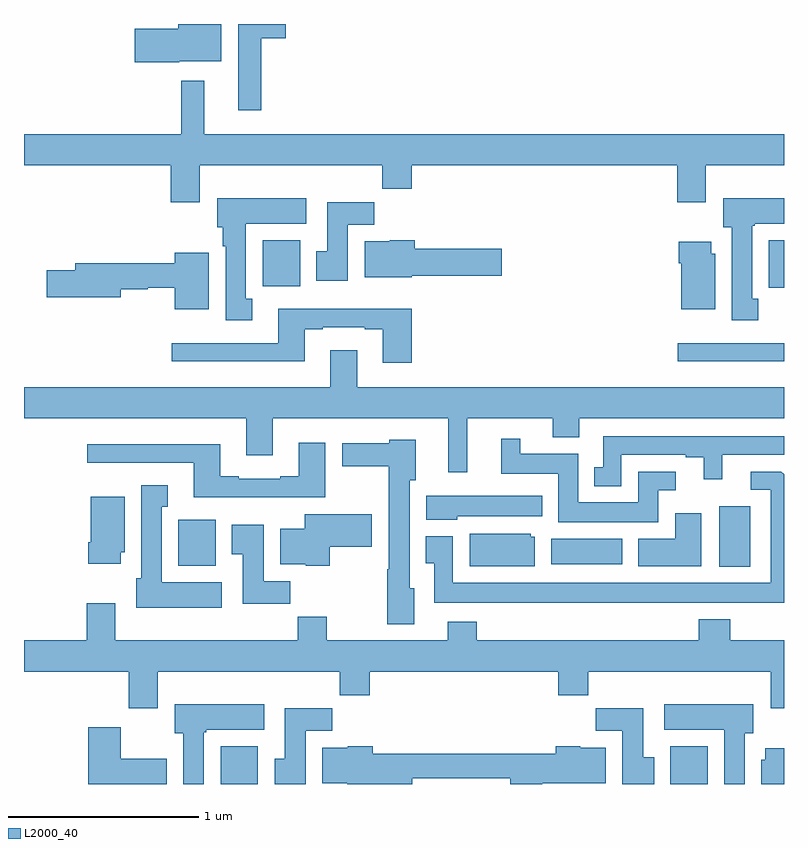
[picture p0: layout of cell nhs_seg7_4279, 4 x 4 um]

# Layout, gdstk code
import gdstk
lib = gdstk.Library(unit=1e-6, precision=1e-09)
def R(c, l, rs):  # rectangles x0, y0, x1, y1
    for r in rs: c.add(gdstk.rectangle(r[:2], r[2:], *l))
def P(c, l, *ps):  # polygons
    for p in ps: c.add(gdstk.Polygon(p, *l))
L2000_40 = (2000, 40)

nhs_seg7_4279 = lib.new_cell('nhs_seg7_4279')
R(nhs_seg7_4279, L2000_40, [(382.035,1024,382.231,1024.198), (384.401,1024,384.598,1024.198), (384.659,1025.144,384.823,1025.461), (381.812,1025.15,382.009,1025.392), (383.775,1025.156,384.148,1025.29), (384.441,1026.224,385,1026.321), (384.921,1026.612,385,1026.862), (382.256,1026.62,382.453,1026.862)])
P(nhs_seg7_4279, L2000_40, [(381.816,1027.805),(382.039,1027.805),(382.039,1028),(381.812,1028),(381.812,1027.976),(381.582,1027.976),(381.582,1027.798),(381.816,1027.798)],
  [(382.249,1027.925),(382.378,1027.925),(382.378,1028),(382.127,1028),(382.127,1027.545),(382.249,1027.545)],
  [(381.925,1027.256),(382.885,1027.256),(382.885,1027.132),(383.042,1027.132),(383.042,1027.256),(384.437,1027.256),(384.437,1027.062),(384.589,1027.062),(384.589,1027.256),(385,1027.256),(385,1027.42),(381.949,1027.42),(381.949,1027.702),(381.828,1027.702),(381.828,1027.42),(381,1027.42),(381,1027.256),(381.773,1027.256),(381.773,1027.062),(381.925,1027.062)],
  [(384.865,1026.553),(384.832,1026.553),(384.832,1026.937),(384.846,1026.937),(384.846,1026.95),(385,1026.95),(385,1027.084),(384.68,1027.084),(384.68,1026.93),(384.725,1026.93),(384.725,1026.441),(384.865,1026.441)],
  [(382.201,1026.554),(382.168,1026.554),(382.168,1026.95),(382.486,1026.95),(382.486,1027.084),(382.016,1027.084),(382.016,1026.93),(382.046,1026.93),(382.046,1026.83),(382.061,1026.83),(382.061,1026.441),(382.201,1026.441)],
  [(382.705,1026.944),(382.844,1026.944),(382.844,1027.063),(382.595,1027.063),(382.595,1026.804),(382.538,1026.804),(382.538,1026.648),(382.705,1026.648)],
  [(383.04,1026.674),(383.515,1026.674),(383.515,1026.816),(383.057,1026.816),(383.057,1026.862),(382.926,1026.862),(382.926,1026.856),(382.793,1026.856),(382.793,1026.668),(383.04,1026.668)],
  [(384.637,1026.792),(384.616,1026.792),(384.616,1026.853),(384.446,1026.853),(384.446,1026.74),(384.458,1026.74),(384.458,1026.5),(384.637,1026.5)],
  [(381.973,1026.796),(381.794,1026.796),(381.794,1026.74),(381.269,1026.74),(381.269,1026.704),(381.12,1026.704),(381.12,1026.562),(381.508,1026.562),(381.508,1026.604),(381.651,1026.604),(381.651,1026.612),(381.794,1026.612),(381.794,1026.5),(381.973,1026.5)],
  [(383.042,1026.502),(382.337,1026.502),(382.337,1026.321),(381.777,1026.321),(381.777,1026.224),(382.477,1026.224),(382.477,1026.393),(382.573,1026.393),(382.573,1026.405),(382.793,1026.405),(382.793,1026.393),(382.889,1026.393),(382.889,1026.216),(383.042,1026.216)],
  [(383.333,1025.924),(383.783,1025.924),(383.783,1025.825),(383.923,1025.825),(383.923,1025.924),(385,1025.924),(385,1026.088),(382.753,1026.088),(382.753,1026.283),(382.613,1026.283),(382.613,1026.088),(381,1026.088),(381,1025.924),(382.169,1025.924),(382.169,1025.73),(382.309,1025.73),(382.309,1025.924),(383.234,1025.924),(383.234,1025.64),(383.333,1025.64)],
  [(384.144,1025.733),(384.482,1025.733),(384.482,1025.721),(384.578,1025.721),(384.578,1025.603),(384.676,1025.603),(384.676,1025.733),(385,1025.733),(385,1025.829),(384.048,1025.829),(384.048,1025.667),(384.002,1025.667),(384.002,1025.567),(384.144,1025.567)],
  [(384.337,1025.547),(384.43,1025.547),(384.43,1025.643),(384.233,1025.643),(384.233,1025.482),(383.917,1025.482),(383.917,1025.737),(383.611,1025.737),(383.611,1025.818),(383.513,1025.818),(383.513,1025.633),(383.813,1025.633),(383.813,1025.378),(384.337,1025.378)],
  [(383.053,1025.031),(383.029,1025.031),(383.029,1025.598),(383.062,1025.598),(383.062,1025.812),(382.923,1025.812),(382.923,1025.794),(382.674,1025.794),(382.674,1025.672),(382.919,1025.672),(382.919,1025.131),(382.912,1025.131),(382.912,1024.841),(383.053,1024.841)],
  [(382.585,1025.797),(382.445,1025.797),(382.445,1025.62),(382.349,1025.62),(382.349,1025.607),(382.129,1025.607),(382.129,1025.62),(382.033,1025.62),(382.033,1025.788),(381.333,1025.788),(381.333,1025.691),(381.893,1025.691),(381.893,1025.51),(382.585,1025.51)],
  [(385,1025.629),(384.986,1025.643),(384.825,1025.643),(384.825,1025.55),(384.929,1025.55),(384.929,1025.059),(383.256,1025.059),(383.256,1025.305),(383.114,1025.305),(383.114,1025.161),(383.159,1025.161),(383.159,1024.955),(385,1024.955)],
  [(382.042,1025.062),(381.724,1025.062),(381.724,1025.459),(381.757,1025.459),(381.757,1025.572),(381.617,1025.572),(381.617,1025.082),(381.59,1025.082),(381.59,1024.928),(382.042,1024.928)],
  [(383.28,1025.408),(383.728,1025.408),(383.728,1025.518),(383.118,1025.518),(383.118,1025.39),(383.28,1025.39)],
  [(381.508,1025.22),(381.529,1025.22),(381.529,1025.512),(381.35,1025.512),(381.35,1025.272),(381.338,1025.272),(381.338,1025.16),(381.508,1025.16)],
  [(384.565,1025.425),(384.428,1025.425),(384.428,1025.29),(384.233,1025.29),(384.233,1025.147),(384.565,1025.147)],
  [(382.608,1025.249),(382.831,1025.249),(382.831,1025.419),(382.478,1025.419),(382.478,1025.344),(382.349,1025.344),(382.349,1025.156),(382.482,1025.156),(382.482,1025.15),(382.608,1025.15)],
  [(382.4,1025.068),(382.261,1025.068),(382.261,1025.365),(382.094,1025.365),(382.094,1025.209),(382.151,1025.209),(382.151,1024.95),(382.4,1024.95)],
  [(383.689,1025.301),(383.667,1025.301),(383.667,1025.317),(383.345,1025.317),(383.345,1025.147),(383.689,1025.147)],
  [(381.703,1024.592),(382.663,1024.592),(382.663,1024.468),(382.82,1024.468),(382.82,1024.592),(383.813,1024.592),(383.813,1024.468),(383.969,1024.468),(383.969,1024.592),(384.929,1024.592),(384.929,1024.398),(385,1024.398),(385,1024.756),(384.716,1024.756),(384.716,1024.867),(384.551,1024.867),(384.551,1024.756),(383.384,1024.756),(383.384,1024.855),(383.231,1024.855),(383.231,1024.756),(382.593,1024.756),(382.593,1024.88),(382.441,1024.88),(382.441,1024.756),(381.481,1024.756),(381.481,1024.951),(381.329,1024.951),(381.329,1024.756),(381,1024.756),(381,1024.592),(381.551,1024.592),(381.551,1024.398),(381.703,1024.398)],
  [(384.793,1024.266),(384.838,1024.266),(384.838,1024.42),(384.369,1024.42),(384.369,1024.286),(384.686,1024.286),(384.686,1024),(384.793,1024)],
  [(381.946,1024.273),(381.96,1024.273),(381.96,1024.286),(382.264,1024.286),(382.264,1024.42),(381.794,1024.42),(381.794,1024.266),(381.839,1024.266),(381.839,1024),(381.946,1024)],
  [(384.316,1024.14),(384.259,1024.14),(384.259,1024.399),(384.01,1024.399),(384.01,1024.28),(384.149,1024.28),(384.149,1024),(384.316,1024)],
  [(382.483,1024.28),(382.622,1024.28),(382.622,1024.399),(382.373,1024.399),(382.373,1024.132),(382.319,1024.132),(382.319,1024),(382.483,1024)],
  [(381.751,1024.132),(381.508,1024.132),(381.508,1024.3),(381.338,1024.3),(381.338,1024),(381.751,1024)],
  [(383.044,1024.03),(383.558,1024.03),(383.558,1024),(383.728,1024),(383.728,1024.004),(384.061,1024.004),(384.061,1024.192),(383.928,1024.192),(383.928,1024.198),(383.798,1024.198),(383.798,1024.159),(382.835,1024.159),(382.835,1024.198),(382.704,1024.198),(382.704,1024.192),(382.571,1024.192),(382.571,1024.004),(382.7,1024.004),(382.7,1024),(383.044,1024)],
  [(385,1024.189),(384.902,1024.189),(384.902,1024.128),(384.881,1024.128),(384.881,1024),(385,1024)])

lib.write_gds('nhs_seg7_4279.gds')
